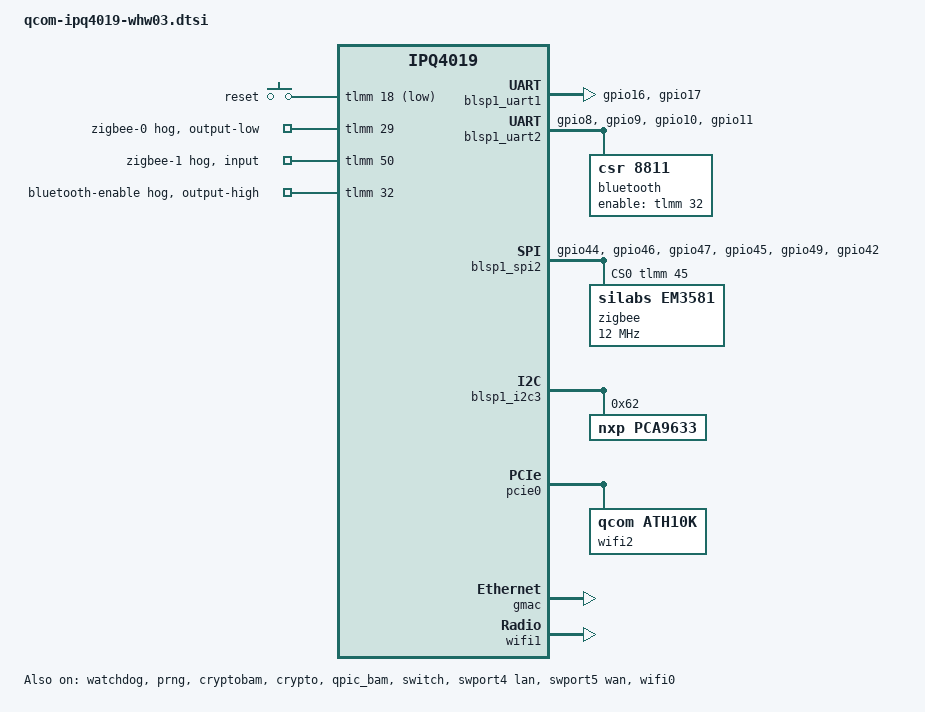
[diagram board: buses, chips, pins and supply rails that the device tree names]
// SPDX-License-Identifier: GPL-2.0-or-later OR MIT

#include "qcom-ipq4019.dtsi"
#include <dt-bindings/gpio/gpio.h>
#include <dt-bindings/input/input.h>
#include <dt-bindings/soc/qcom,tcsr.h>
#include <dt-bindings/leds/common.h>

/ {
	aliases {
		led-boot = &led_blue;
		led-failsafe = &led_red;
		led-running = &led_blue;
		led-upgrade = &led_red;
	};

	soc {
		ess-tcsr@1953000 {
			compatible = "qcom,tcsr";
			reg = <0x1953000 0x1000>;
			qcom,ess-interface-select = <TCSR_ESS_PSGMII>;
		};


		tcsr@1949000 {
			compatible = "qcom,tcsr";
			reg = <0x1949000 0x100>;
			qcom,wifi_glb_cfg = <TCSR_WIFI_GLB_CFG>;
		};

		tcsr@194b000 {
			compatible = "qcom,tcsr";
			reg = <0x194b000 0x100>;
			qcom,usb-hsphy-mode-select = <TCSR_USB_HSPHY_HOST_MODE>;
		};

		tcsr@1957000 {
			compatible = "qcom,tcsr";
			reg = <0x1957000 0x100>;
			qcom,wifi_noc_memtype_m0_m2 = <TCSR_WIFI_NOC_MEMTYPE_M0_M2>;
		};
	};

	keys {
		compatible = "gpio-keys";

		reset {
			label = "reset";
			gpios = <&tlmm 18 GPIO_ACTIVE_LOW>;
			linux,code = <KEY_RESTART>;
		};
	};
};

&tlmm {
	mdio_pins: mdio-pinmux {
		mux-1 {
			pins = "gpio6";
			function = "mdio";
			bias-pull-up;
		};

		mux-2 {
			pins = "gpio7";
			function = "mdc";
			bias-pull-up;
		};
	};

	serial_0_pins: serial0-pinmux {
		pins = "gpio16", "gpio17";
		function = "blsp_uart0";
		bias-disable;
	};

	serial_1_pins: serial1-pinmux {
		pins = "gpio8", "gpio9", "gpio10", "gpio11";
		function = "blsp_uart1";
		bias-disable;
	};

	spi_1_pins: spi-1-pinmux {
		mux-1 {
			pins = "gpio44", "gpio46", "gpio47";
			function = "blsp_spi1";
			bias-disable;
		};

		mux-2 {
			pins = "gpio45", "gpio49";
			function = "gpio";
			bias-pull-up;
			output-high;
		};

		host-interrupt {
			pins = "gpio42";
			function = "gpio";
			input;
		};
	};

	wifi_0_pins: wifi0-pinmux {
		pins = "gpio52";
		function = "gpio";
		drive-strength = <6>;
		bias-pull-up;
		output-high;
	};

	zigbee-0 {
		gpio-hog;
		gpios = <29 GPIO_ACTIVE_HIGH>;
		bias-disable;
		output-low;
	};

	zigbee-1 {
		gpio-hog;
		gpios = <50 GPIO_ACTIVE_HIGH>;
		bias-disable;
		input;
	};

	bluetooth-enable {
		gpio-hog;
		gpios = <32 GPIO_ACTIVE_HIGH>;
		output-high;
	};
};

&ethphy0 {
	status = "disabled";
};

&ethphy1 {
	status = "disabled";
};

&ethphy2 {
	status = "disabled";
};

&watchdog {
	status = "okay";
};

&prng {
	status = "okay";
};

&blsp_dma {
	status = "okay";
};

&cryptobam {
	status = "okay";
	num-channels = <4>;
	qcom,num-ees = <2>;
};

&crypto {
	status = "okay";
};

&blsp1_uart1 {
	status = "okay";
	pinctrl-0 = <&serial_0_pins>;
	pinctrl-names = "default";
};

&blsp1_uart2 {
	status = "okay";
	pinctrl-0 = <&serial_1_pins>;
	pinctrl-names = "default";

	bluetooth {
		compatible = "csr,8811";

		enable-gpios = <&tlmm 32 GPIO_ACTIVE_HIGH>;
	};
};

&blsp1_spi2 {
	status = "okay";
	pinctrl-0 = <&spi_1_pins>;
	pinctrl-names = "default";

	cs-gpios = <&tlmm 45 GPIO_ACTIVE_HIGH>;

	zigbee@0 {
		compatible = "silabs,em3581";
		reg = <0>;
		#address-cells = <1>;
		#size-cells = <0>;
		spi-max-frequency = <12000000>;
	};
};

&blsp1_i2c3 {
	status = "okay";
	pinctrl-0 = <&i2c_0_pins>;
	pinctrl-names = "default";

	// RGB LEDs
	pca9633: led-controller@62 {
		compatible = "nxp,pca9633";
		nxp,hw-blink;
		reg = <0x62>;
		#address-cells = <1>;
		#size-cells = <0>;

		led_red: red@0 {
			color = <LED_COLOR_ID_RED>;
			function = LED_FUNCTION_INDICATOR;
			reg = <0>;
		};

		led_green: green@1 {
			color = <LED_COLOR_ID_GREEN>;
			function = LED_FUNCTION_INDICATOR;
			reg = <1>;
		};

		led_blue: blue@2 {
			color = <LED_COLOR_ID_BLUE>;
			function = LED_FUNCTION_INDICATOR;
			reg = <2>;
		};
	};
};

&pcie0 {
	status = "okay";

	perst-gpios = <&tlmm 38 GPIO_ACTIVE_LOW>;
	wake-gpios = <&tlmm 40 GPIO_ACTIVE_LOW>;
	clkreq-gpios = <&tlmm 39 GPIO_ACTIVE_LOW>;

	bridge@0,0 {
		reg = <0x00000000 0 0 0 0>;
		#address-cells = <3>;
		#size-cells = <2>;
		ranges;

		wifi2: wifi@1,0 {
			compatible = "qcom,ath10k";
		};
	};
};

&qpic_bam {
	status = "okay";
};

&gmac {
	status = "okay";
};

&switch {
	status = "okay";
};

&swport4 {
	status = "okay";
	label = "lan";
};

&swport5 {
	status = "okay";
	label = "wan";
};

&wifi0 {
	status = "okay";
	pinctrl-0 = <&wifi_0_pins>;
	pinctrl-names = "default";

	qcom,coexist-support = <1>;
	qcom,coexist-gpio-pin = <52>;
};

&wifi1 {
	status = "okay";

	ieee80211-freq-limit = <5170000 5330000>;
};

&wifi2 {
	status = "okay";

	ieee80211-freq-limit = <5490000 5835000>;
};
